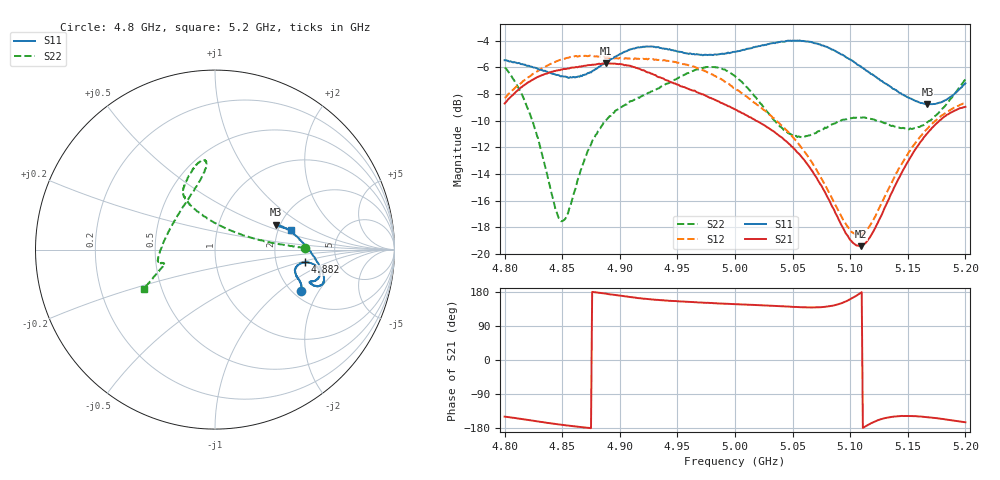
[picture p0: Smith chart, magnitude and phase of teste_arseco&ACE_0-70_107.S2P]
! Network Analyzer HP8722D
! Hewlett-Packard
! Data name: Linha & Wilkinson
! Saver's name: Rodrigo Anjos
! Comments: Teste da utilização de aquisição
! continua pelo VNA HP8722D
! Time and date: 8/5/2025 13:39
!  Frequency  S11  S21  S12  S22
# HZ  S  MA R 50
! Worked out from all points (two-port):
!   401 points, 4.8 GHz to 5.2 GHz, reference 50 ohm
!   highest |S21| = -5.67 dB at 4.888 GHz (marker M1); lowest = -19.4 dB at 5.109 GHz (marker M2)
!   |S21| within 3 dB of the highest: 4.8 GHz to 4.988 GHz (188.1 MHz wide, 3.84 % of centre)
!   lowest |S11| = -8.8 dB at 5.167 GHz (marker M3), VSWR 2.15, Z = 94.6 + j30.2 ohm
!   |S11| at or under -10 dB: nowhere
!   |S22| runs from -17.5 to -6.0 dB; largest |S21 - S12| = 1.1
!   S11 on the Smith chart (normalised r, x): 4.8 GHz: 2.22, -1.43; 4.882 GHz: 2.92, -0.55; 5.2 GHz: 2.34, +0.64
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4.8e9  0.5335 -25.5  0.3671 -149.5  0.3855 10.1  0.4999 1.3
4.812e9  0.521 -22.3  0.4137 -154.4  0.4298 8.1  0.4205 2.6
4.823e9  0.5047 -20.6  0.4475 -159.5  0.4676 6.6  0.3257 6.5
4.848e9  0.4657 -16.2  0.4894 -170.3  0.5347 2.6  0.1343 56.4
4.855e9  0.4592 -14.6  0.4966 -173.0  0.5449 1.4  0.1419 85.7
4.867e9  0.465 -11.0  0.5065 -177.2  0.5523 -0.4  0.211 111.4
4.882e9  0.5047 -8.0  0.5181 177.2  0.5508 -1.3  0.2937 119.0
4.888e9  0.5224 -7.8  0.5204 174.9  0.5471 -1.6  0.3176 120.0
4.91e9  0.587 -10.6  0.5061 165.9  0.5403 -1.3  0.3747 118.5
4.934e9  0.5961 -16.0  0.4606 158.2  0.5351 -2.0  0.4186 111.8
4.975e9  0.5591 -19.0  0.3918 150.6  0.4835 -5.6  0.5029 98.4
5e9  0.5738 -19.7  0.3486 147.3  0.4193 -5.8  0.4652 96.1
5.044e9  0.6285 -17.9  0.2658 141.1  0.2931 2.6  0.2891 131.5
5.067e9  0.6224 -13.6  0.2049 138.8  0.2201 9.3  0.2822 164.7
5.098e9  0.5431 -2.8  0.1167 157.2  0.1263 38.2  0.3217 -171.0
5.109e9  0.5067 2.4  0.107 176.8  0.1181 60.0  0.3251 -167.5
5.119e9  0.4729 7.3  0.1194 -165.6  0.1316 78.9  0.3205 -166.4
5.134e9  0.4277 14.4  0.1622 -151.1  0.178 94.6  0.3052 -165.8
5.152e9  0.3836 20.7  0.2296 -147.7  0.2443 100.9  0.296 -164.6
5.167e9  0.3647 22.3  0.2837 -150.8  0.2956 101.9  0.3122 -161.3
5.182e9  0.377 20.3  0.3282 -156.4  0.3366 101.9  0.3582 -157.0
5.2e9  0.4371 14.6  0.3566 -164.3  0.3694 102.3  0.452 -150.8
